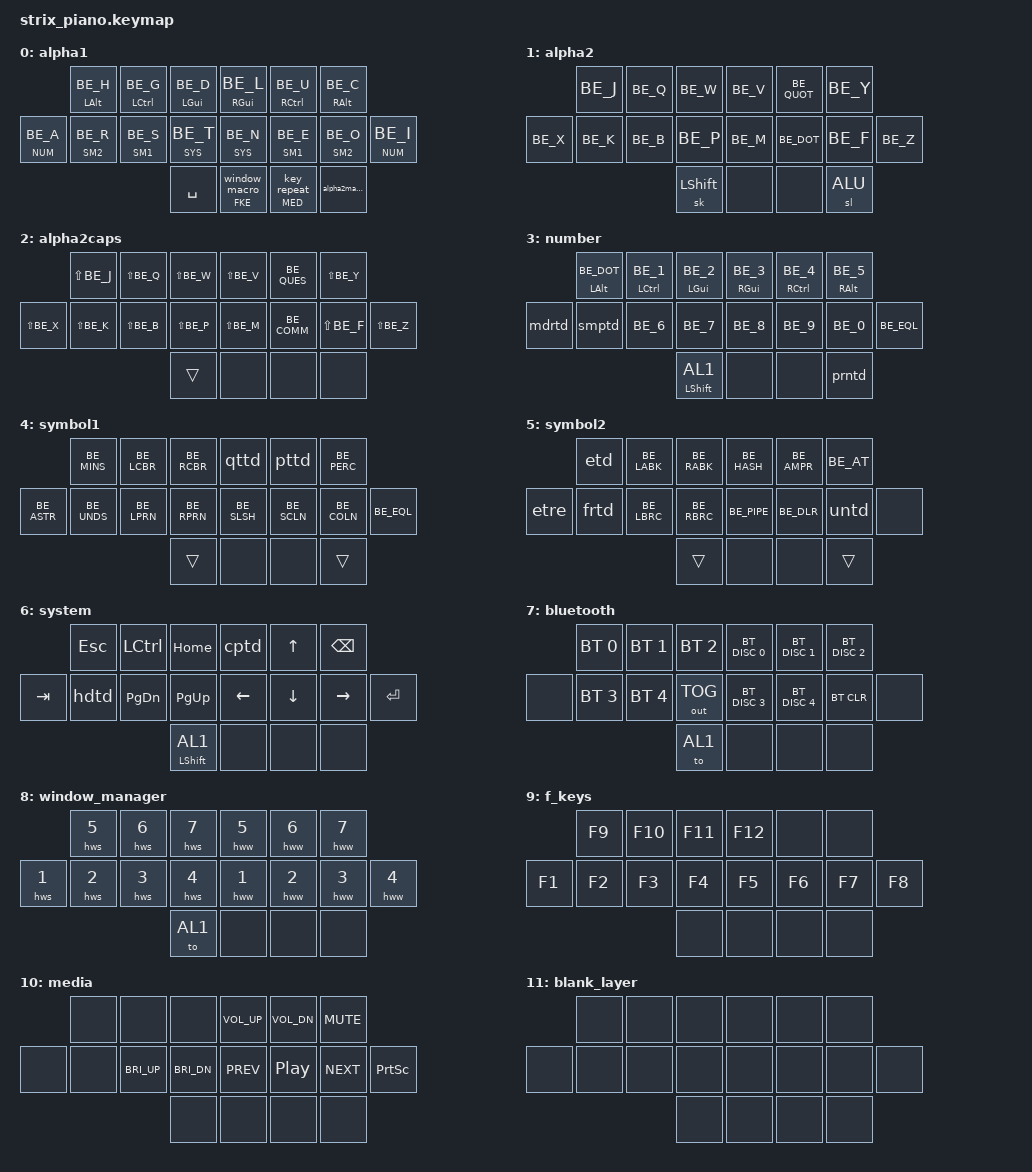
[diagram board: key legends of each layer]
#include <behaviors.dtsi>
#include <dt-bindings/zmk/keys.h>
#include <dt-bindings/zmk/bt.h>
#include <dt-bindings/zmk/outputs.h>
#include <dt-bindings/zmk/mouse.h>
#include "keymap_belgian.h"

#define AL1 0  // alpha1
#define AL2 1  // alpha2
#define ALU 2  // alpha2 capitalized
#define NUM 3  // number
#define SM1 4  // symbol 1
#define SM2 5  // symbol 2
#define SYS 6  // system layer
#define BTL 7  // bluetooth layer
#define WIN 8  // window manager
#define FKE 9  // f-keys
#define MED 10 // media

&mt {
    tapping-term-ms = <201>;
    flavor = "tap-preferred";
 };
&sk {
     release-after-ms = <2000>;
     quick-release;
 };

/ {

  chosen {
    zmk,battery = &vbatt;
  };

  vbatt: vbatt {
    compatible = "zmk,battery-nrf-vddh";
  };


  keymap {
    compatible = "zmk,keymap";

    alpha1 {
      bindings = <
                       &hm_l LALT BE_H &hm_l LCTRL BE_G &hm_l LGUI BE_D          &hm_r RGUI BE_L &hm_r RCTRL BE_U &hm_r RALT BE_C 
        &hl_l NUM BE_A &hl_l SM2 BE_R  &hl_l SM1 BE_S   &hl_l SYS BE_T           &hl_r SYS BE_N  &hl_r SM1 BE_E   &hl_r SM2 BE_O  &hl_r NUM BE_I
                                                   &kp SPC &fkeys FKE 0          &rh MED 0 &alpha2macro
      >;
    };

    alpha2 {
      bindings = <
                 &kp BE_J &kp BE_Q &kp BE_W          &kp BE_V &kp BE_QUOT &kp BE_Y 
        &kp BE_X &kp BE_K &kp BE_B &kp BE_P          &kp BE_M &kp BE_DOT  &kp BE_F &kp BE_Z
                           &sk LSHIFT &none          &none &sl ALU
      >;

    };
    alpha2caps {
      bindings = <
                     &kp LS(BE_J) &kp LS(BE_Q) &kp LS(BE_W)          &kp LS(BE_V) &kp BE_QUES &kp LS(BE_Y) 
        &kp LS(BE_X) &kp LS(BE_K) &kp LS(BE_B) &kp LS(BE_P)          &kp LS(BE_M) &kp BE_COMM &kp LS(BE_F) &kp LS(BE_Z)
                                               &trans &none          &none &none
      >;
    };


    number {
      bindings = <
               &hm_l LALT BE_DOT &hm_l LCTRL BE_1 &hm_l LGUI BE_2          &hm_r RGUI BE_3 &hm_r RCTRL BE_4 &hm_r RALT BE_5 
        &mdrtd &smptd            &kp BE_6         &kp BE_7                 &kp BE_8        &kp BE_9         &kp BE_0        &kp BE_EQL
                                             &sr LSHIFT AL1 &none          &none &prntd
      >;
    };

    symbol1 {
      bindings = <
                    &kp BE_MINS &kp BE_LCBR &kp BE_RCBR          &qttd       &pttd       &kp BE_PERC 
        &kp BE_ASTR &kp BE_UNDS &kp BE_LPRN &kp BE_RPRN          &kp BE_SLSH &kp BE_SCLN &kp BE_COLN &kp BE_EQL
                                           &trans &none          &none &trans
      >;
    };
    symbol2 {
      bindings = <
              &etd  &kp BE_LABK &kp BE_RABK          &kp BE_HASH &kp BE_AMPR &kp BE_AT 
        &etre &frtd &kp BE_LBRC &kp BE_RBRC          &kp BE_PIPE &kp BE_DLR  &untd     &none 
                               &trans &none          &none &trans
      >;
    };
    system {
      bindings = <
                &kp ESC &kp LCTRL  &kp HOME          &cptd    &kp UP   &kp BSPC 
        &kp TAB &hdtd   &kp PG_DN &kp PG_UP          &kp LEFT &kp DOWN &kp RIGHT &kp RET
                       &sr LSHIFT AL1 &none          &none &none
      >;
    };
    bluetooth {
      bindings = <
              &bt BT_SEL 0 &bt BT_SEL 1 &bt BT_SEL 2          &bt BT_DISC 0 &bt BT_DISC 1 &bt BT_DISC 2 
        &none &bt BT_SEL 3 &bt BT_SEL 4 &out OUT_TOG          &bt BT_DISC 3 &bt BT_DISC 4 &bt BT_CLR    &none
                                       &to AL1 &none          &none &none
      >;
    };
    window_manager {
      bindings = <
                &hws N5 &hws N6 &hws N7          &hww N5 &hww N6 &hww N7 
        &hws N1 &hws N2 &hws N3 &hws N4          &hww N1 &hww N2 &hww N3 &hww N4
                          &to AL1 &none          &none &none
      >;
    };
    f_keys {
      bindings = <
               &kp F9 &kp F10 &kp F11          &kp F12 &none  &none 
        &kp F1 &kp F2 &kp F3  &kp F4           &kp F5  &kp F6 &kp F7 &kp F8 
                          &none &none          &none &none
      >;
    };

    media {
      bindings = <
              &none &none        &none                 &kp C_VOL_UP &kp C_VOL_DN &kp C_MUTE 
        &none &none &kp C_BRI_UP &kp C_BRI_DN          &kp C_PREV   &kp C_PP     &kp C_NEXT &kp PSCRN 
                                  &none &none          &none &none
      >;
    };

    blank_layer {
      bindings = <
              &none &none &none          &none &none &none 
        &none &none &none &none          &none &none &none &none 
                    &none &none          &none &none
      >;
    };
  };


  macros {
    alpha2macro: behavior_macro_1 {
      compatible = "zmk,behavior-macro";
      label = "MACRO1";
      #binding-cells = <0>;
      bindings = <&macro_tap &sl AL2 >;
    };
    caps_alpha2macro: behavior_macro_2 {
      compatible = "zmk,behavior-macro";
      label = "MACRO2";
      #binding-cells = <0>;
      bindings = <&macro_tap &sl ALU >;
    };
    window_macro: behavior_macro_3 {
      compatible = "zmk,behavior-macro";
      label = "MACRO3";
      #binding-cells = <0>;
      bindings = <&macro_tap &sl WIN >;
    };
    udtd: undead_tilda {
      compatible = "zmk,behavior-macro";
      #binding-cells = <0>;
      wait-ms = <40>;
      tap-ms = <40>;
      bindings = <&kp BE_TILD>, <&kp SPACE>;
    };
    
    udgr: undead_grave {
      compatible = "zmk,behavior-macro";
      #binding-cells = <0>;
      wait-ms = <40>;
      tap-ms = <40>;
      bindings = <&kp BE_GRV>, <&kp SPACE>;
    }; 

    etre: e-trema {
      compatible = "zmk,behavior-macro";
      #binding-cells = <0>;
      wait-ms = <40>;
      tap-ms = <40>;
      bindings = <&kp BE_DIAE>, <&kp BE_E>;
    };
    hws: hyprland_workspace_switch {
      compatible = "zmk,behavior-macro-one-param";
      wait-ms = <40>;
      tap-ms = <40>;
      #binding-cells = <1>;
      bindings = 
        <&macro_press &kp LGUI>,
        <&macro_param_1to1>,
        <&macro_tap &kp 0>,
        <&macro_release &kp LGUI>;
    };

    hww: hyprland_window_to_workspace {
      compatible = "zmk,behavior-macro-one-param";
      wait-ms = <40>;
      tap-ms = <40>;
      #binding-cells = <1>;
      bindings = 
        <&macro_press &kp LGUI>,
        <&macro_press &kp LSHFT>,
        <&macro_param_1to1>,
        <&macro_tap &kp 0>,
        <&macro_release &kp LSHFT>,
        <&macro_release &kp LGUI>;
    };
  };

  behaviors {
    hm_l: homerow_mods_left {
      compatible = "zmk,behavior-hold-tap";
      label = "HOMEROW_MODS_L";
      #binding-cells = <2>;
      tapping-term-ms = <300>;
      quick-tap-ms = <250>;
      flavor = "tap-preferred";
      bindings = <&kp>, <&kp>;
    };
    hm_r: homerow_mods_right {
      compatible = "zmk,behavior-hold-tap";
      label = "HOMEROW_MODS_R";
      #binding-cells = <2>;
      tapping-term-ms = <300>;
      quick-tap-ms = <250>;
      flavor = "tap-preferred";
      bindings = <&kp>, <&kp>;
    };
    sr: shift_layer {
      compatible = "zmk,behavior-hold-tap";
      label = "SHIFT_LAYER";
      #binding-cells = <2>;
      tapping-term-ms = <300>;
      quick_tap_ms = <0>;
      flavor = "tap-preferred";
      bindings = <&kp>, <&to>;
      retro-tap;
    };
    hl_l: homerow_layers_left {
      compatible = "zmk,behavior-hold-tap";
      label = "HOMEROW_LAYERS_L";
      #binding-cells = <2>;
      tapping-term-ms = <220>;
      quick-tap-ms = <250>;
      flavor = "tap-preferred";
      bindings = <&mo>, <&kp>;
    };
    hl_r: homerow_layers_right {
      compatible = "zmk,behavior-hold-tap";
      label = "HOMEROW_LAYERS_R";
      #binding-cells = <2>;
      tapping-term-ms = <220>;
      quick-tap-ms = <250>;
      flavor = "tap-preferred";
      bindings = <&mo>, <&kp>;
    };
    fkeys: f_keys_window {
      compatible = "zmk,behavior-hold-tap";
      label = "F_KEYS_WINDOW";
      #binding-cells = <2>;
      tapping-term-ms = <220>;
      quick-tap-ms = <250>;
      flavor = "tap-preferred";
      bindings = <&mo>, <&window_macro>;
    };
    rh: repeat_hold {
      compatible = "zmk,behavior-hold-tap";
      label = "REPEAT_HOLD";
      #binding-cells = <2>;
      tapping-term-ms = <220>;
      quick-tap-ms = <250>;
      flavor = "tap-preferred";
      bindings = <&mo>, <&key_repeat>;
    };
    th: taphold {
      compatible = "zmk,behavior-hold-tap";
      label = "TAPHOLD";
      #binding-cells = <2>;
      tapping-term-ms = <190>;
      quick-tap-ms = <250>;
      flavor = "tap-preferred";
      bindings = <&kp>, <&kp>;
    }; 
    untd: undead_tapdance {
      compatible = "zmk,behavior-tap-dance";
      label = "TAPDANCE0";
      #binding-cells = <0>;
      tapping-term-ms = <190>;
      bindings = <&udtd>, <&udgr>;
    };
    qttd: quotes_tap_dance {
      compatible = "zmk,behavior-tap-dance";
      label = "TAPDANCE1";
      #binding-cells = <0>;
      tapping-term-ms = <190>;
      bindings = <&kp BE_DQUO>, <&kp BE_QUOT>;
    };
    pttd: punctuation_tap_dance { 
      compatible = "zmk,behavior-tap-dance";
      label = "TAPDANCE2";
      #binding-cells = <0>;
      tapping-term-ms = <190>;
      bindings = <&kp BE_EXLM>, <&kp BE_QUES>;
    };
    hdtd: home_delete_tap_dance { 
      compatible = "zmk,behavior-tap-dance";
      label = "TAPDANCE3";
      #binding-cells = <0>;
      tapping-term-ms = <190>;
      bindings = <&kp DEL>, <&kp HOME>;
    };
    etd: e_tap_dance { 
      compatible = "zmk,behavior-tap-dance";
      label = "TAPDANCE4";
      #binding-cells = <0>;
      tapping-term-ms = <190>;
      bindings = <&kp BE_EACU>, <&kp BE_EGRV>;
    };
    frtd: french_tap_dance { 
      compatible = "zmk,behavior-tap-dance";
      label = "TAPDANCE5";
      #binding-cells = <0>;
      tapping-term-ms = <190>;
      bindings = <&kp BE_AGRV>, <&kp BE_CCED>;
    };
    cptd: copy_paste_tap_dance { 
      compatible = "zmk,behavior-tap-dance";
      label = "TAPDANCE6";
      #binding-cells = <0>;
      tapping-term-ms = <190>;
      bindings = <&kp LC(BE_C)>, <&kp LC(BE_V)>;
    };
    smptd: sum_multiply_power_tap_dance { 
      compatible = "zmk,behavior-tap-dance";
      label = "TAPDANCE7";
      #binding-cells = <0>;
      tapping-term-ms = <190>;
      bindings = <&kp BE_PLUS>, <&kp BE_ASTR>, <&kp BE_CIRC>;
    };
    mdrtd: min_devide_remain_tap_dance { 
      compatible = "zmk,behavior-tap-dance";
      label = "TAPDANCE8";
      #binding-cells = <0>;
      tapping-term-ms = <190>;
      bindings = <&kp BE_MINS>, <&kp BE_SLSH>, <&kp BE_PERC>;
    };
    prntd: paren_tap_dance { 
      compatible = "zmk,behavior-tap-dance";
      label = "TAPDANCE9";
      #binding-cells = <0>;
      tapping-term-ms = <190>;
      bindings = <&kp BE_LPRN>, <&kp BE_RPRN>;
    };
  };
  combos {
    compatible = "zmk,combos";
    combo_sys {
      timeout-ms = <30>;
      key-positions = <3 4 5>;
      bindings = <&to SYS>;
      layers = <AL1>;
    };
    combo_sys_1 {
      timeout-ms = <30>;
      key-positions = <0 1 2>;
      bindings = <&to SYS>;
      layers = <AL1>;
    };
    combo_caps {
      timeout-ms = <30>;
      key-positions = <10 11 12>;
      bindings = <&caps_word>;
      layers = <AL1>;
    };
    combo_bt {
      timeout-ms = <30>;
      key-positions = <3 4>;
      bindings = <&to BTL>;
      layers = <SYS>;
    };
    lshft {
      timeout-ms = <20>;
      key-positions = <6 7>;
      bindings = <&kp LSHIFT>;
      layers = <SYS>;
    };
    lclk {
      timeout-ms = <20>;
      key-positions = <8 9>;
      bindings = <&mkp LCLK>;
      layers = <SYS>;
    };
    rclk {
      timeout-ms = <20>;
      key-positions = <1 9>;
      bindings = <&mkp RCLK>;
      layers = <SYS>;
    };
    mclk {
      timeout-ms = <20>;
      key-positions = <1 2>;
      bindings = <&mkp MCLK>;
      layers = <SYS>;
    }; 
  };
  
};
